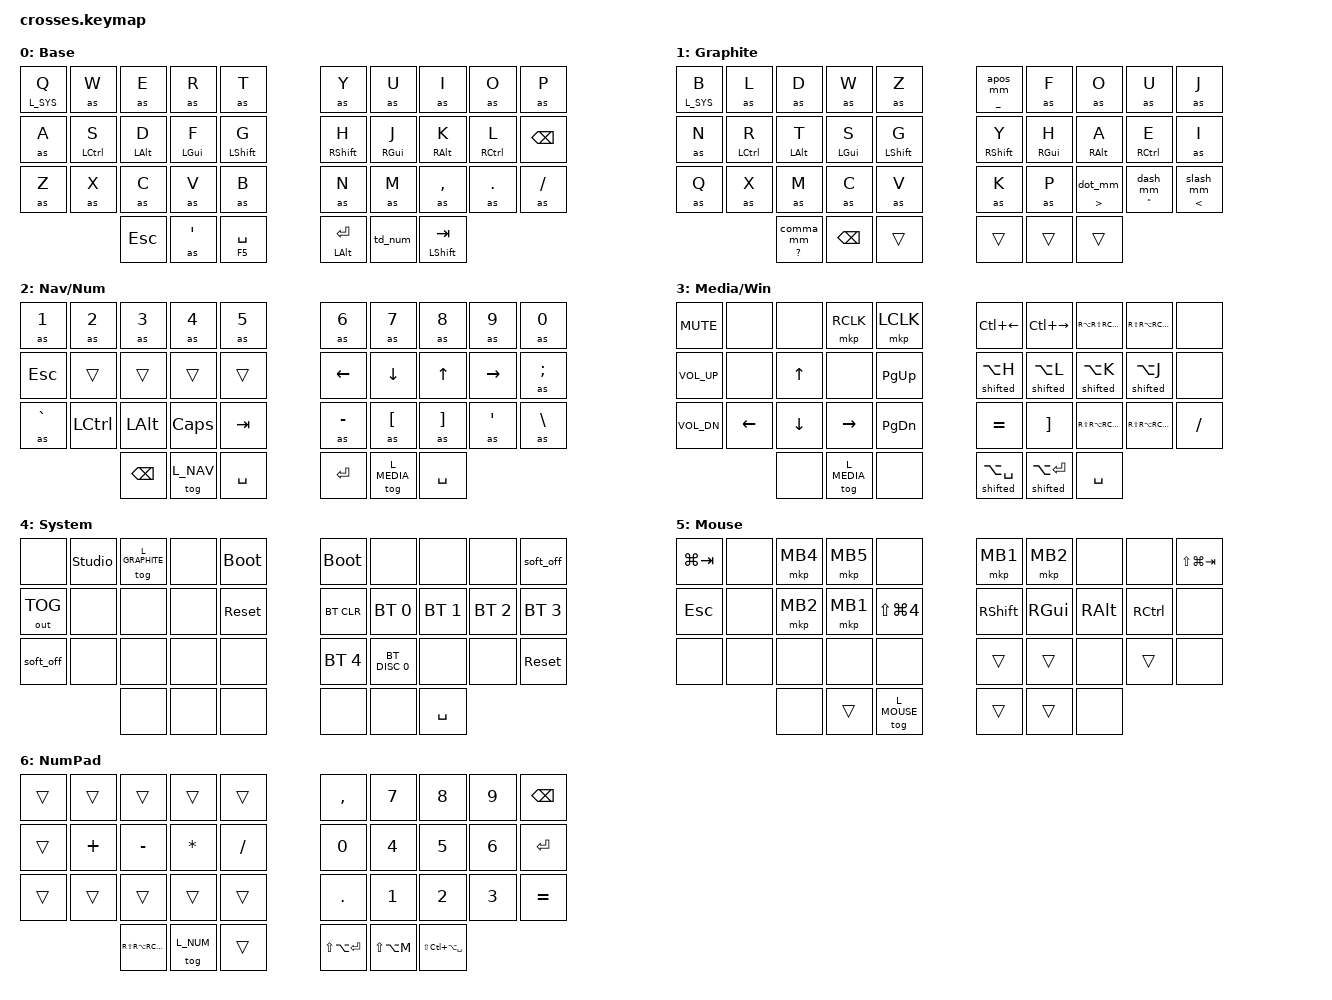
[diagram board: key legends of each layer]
#include <behaviors.dtsi>
#include <dt-bindings/zmk/bt.h>
#include <dt-bindings/zmk/keys.h>
#include <dt-bindings/zmk/outputs.h>
#include <dt-bindings/zmk/pointing.h>
#include <behaviors/num_word.dtsi>   // urob/zmk-auto-layer module
#include <scroll-snap.dtsi>          // kot149/zmk-scroll-snap module

/* Key position groups for timeless homerow mods (36-key numbering)
 *  0  1  2  3  4    5  6  7  8  9
 * 10 11 12 13 14   15 16 17 18 19
 * 20 21 22 23 24   25 26 27 28 29
 *       30 31 32   33 34 35
 */
#define KEYS_L 0 1 2 3 4 10 11 12 13 14 20 21 22 23 24
#define KEYS_R 5 6 7 8 9 15 16 17 18 19 25 26 27 28 29
#define THUMBS 30 31 32 33 34 35

/* Layer names. Graphite sits at index 1, directly above Base, so every
 * function layer still overrides it (highest active layer wins).
 */
#define L_BASE     0
#define L_GRAPHITE 1
#define L_NAV      2
#define L_MEDIA    3
#define L_SYS      4
#define L_MOUSE    5
#define L_NUM      6

/ {
    chosen { zmk,physical-layout = &gggw_crosses_36_layout; };

    behaviors {
        hml: home_row_mod_left {
            compatible = "zmk,behavior-hold-tap";
            label = "HOME_ROW_MOD_LEFT";
            #binding-cells = <2>;
            flavor = "balanced";
            tapping-term-ms = <280>;
            quick-tap-ms = <175>;
            require-prior-idle-ms = <150>;
            bindings = <&kp>, <&kp>;
            hold-trigger-key-positions = <KEYS_R THUMBS>;
            hold-trigger-on-release;
        };

        hmr: home_row_mod_right {
            compatible = "zmk,behavior-hold-tap";
            label = "HOME_ROW_MOD_RIGHT";
            #binding-cells = <2>;
            flavor = "balanced";
            tapping-term-ms = <280>;
            quick-tap-ms = <175>;
            require-prior-idle-ms = <150>;
            bindings = <&kp>, <&kp>;
            hold-trigger-key-positions = <KEYS_L THUMBS>;
            hold-trigger-on-release;
        };

        td_num: tap_dance_num {
            compatible = "zmk,behavior-tap-dance";
            label = "TAP_DANCE_NUM";
            #binding-cells = <0>;
            tapping-term-ms = <200>;
            bindings = <&num_word L_NUM>, <&tog L_NUM>, <&tog L_NAV>;   // tap: smart numpad, double tap: toggle numpad lock, triple tap: toggle nav lock
        };

        /* Graphite custom shift pairs: tap = mod-morph (base char, shifted pair
         * when shift held), hold = autoshift to the pair char. Cleared of
         * suspicion by the 2026-08-22 bisect; the real failures were the
         * zip_temp_layer driver plus stale ZMK Studio layer-order state.
         */
        gr_apos: gr_apos { compatible = "zmk,behavior-hold-tap"; #binding-cells = <2>; tapping-term-ms = <350>; quick-tap-ms = <0>; flavor = "tap-preferred"; bindings = <&kp>, <&apos_mm>; };
        gr_dot: gr_dot { compatible = "zmk,behavior-hold-tap"; #binding-cells = <2>; tapping-term-ms = <350>; quick-tap-ms = <0>; flavor = "tap-preferred"; bindings = <&kp>, <&dot_mm>; };
        gr_dash: gr_dash { compatible = "zmk,behavior-hold-tap"; #binding-cells = <2>; tapping-term-ms = <350>; quick-tap-ms = <0>; flavor = "tap-preferred"; bindings = <&kp>, <&dash_mm>; };
        gr_slash: gr_slash { compatible = "zmk,behavior-hold-tap"; #binding-cells = <2>; tapping-term-ms = <350>; quick-tap-ms = <0>; flavor = "tap-preferred"; bindings = <&kp>, <&slash_mm>; };
        gr_comma: gr_comma { compatible = "zmk,behavior-hold-tap"; #binding-cells = <2>; tapping-term-ms = <350>; quick-tap-ms = <0>; flavor = "tap-preferred"; bindings = <&kp>, <&comma_mm>; };

        apos_mm: apos_mm { compatible = "zmk,behavior-mod-morph"; #binding-cells = <0>; bindings = <&kp SQT>, <&kp UNDER>; mods = <(MOD_LSFT|MOD_RSFT)>; };
        dot_mm: dot_mm { compatible = "zmk,behavior-mod-morph"; #binding-cells = <0>; bindings = <&kp DOT>, <&kp GT>; mods = <(MOD_LSFT|MOD_RSFT)>; };
        dash_mm: dash_mm { compatible = "zmk,behavior-mod-morph"; #binding-cells = <0>; bindings = <&kp MINUS>, <&kp DQT>; mods = <(MOD_LSFT|MOD_RSFT)>; };
        slash_mm: slash_mm { compatible = "zmk,behavior-mod-morph"; #binding-cells = <0>; bindings = <&kp FSLH>, <&kp LT>; mods = <(MOD_LSFT|MOD_RSFT)>; };
        comma_mm: comma_mm { compatible = "zmk,behavior-mod-morph"; #binding-cells = <0>; bindings = <&kp COMMA>, <&kp QMARK>; mods = <(MOD_LSFT|MOD_RSFT)>; };

        as_ht: autoshift_hold_tap {
            compatible = "zmk,behavior-hold-tap";
            label = "AUTOSHIFT_HOLD_TAP";
            #binding-cells = <2>;
            tapping-term-ms = <350>;
            bindings = <&shifted>, <&kp>;

            quick_tap_ms = <0>;
            flavor = "tap-preferred";
        };
    };

    macros {
        shifted: macro_shifted_kp {
            #binding-cells = <1>;
            label = "MACRO_SHIFTED_KP";
            compatible = "zmk,behavior-macro-one-param";
            bindings =
                <&macro_press>,
                <&kp LSHFT &macro_param_1to1>,
                <&macro_tap>,
                <&kp MACRO_PLACEHOLDER>,
                <&macro_release>,
                <&kp LSHFT>;
        };

        as: autoshift {
            compatible = "zmk,behavior-macro-one-param";
            #binding-cells = <1>;
            label = "AUTOSHIFT_KP";
            bindings =
                <&macro_press>,
                <&macro_param_1to1 &macro_param_1to2 &as_ht MACRO_PLACEHOLDER MACRO_PLACEHOLDER>,
                <&macro_pause_for_release>,
                <&macro_release>,
                <&macro_param_1to1 &macro_param_1to2 &as_ht MACRO_PLACEHOLDER MACRO_PLACEHOLDER>;
        };
    };
};

/* Travel power-off: hold for 2 s to shut both halves down completely
 * (central forwards to the peripheral first). Wake by tapping the reset
 * button on each half; keys cannot wake it, so it is safe in a bag.
 */
&soft_off {
    hold-time-ms = <2000>;
};

&lt {
    tapping-term-ms = <200>;
    flavor = "balanced";
    quick-tap-ms = <150>;
};

/ {
    combos {
        compatible = "zmk,combos";

        layer1-combo-left {
            bindings = <&mo L_NAV>;
            key-positions = <24 32>;
        };

        layer2-combo-left {
            bindings = <&mo L_MEDIA>;
            key-positions = <23 32>;
        };

        layer1-combo-right {
            bindings = <&mo L_NAV>;
            key-positions = <25 33>;
        };

        layer2-combo-right {
            bindings = <&mo L_MEDIA>;
            key-positions = <26 33>;
        };

        shiftenter {
            bindings = <&shifted ENTER>;
            key-positions = <32 33>;
        };

        alt-tab {
            bindings = <&kp LA(TAB)>;
            key-positions = <31 10>;
        };
    };

    macros {
    };

    behaviors {
    };

    keymap {
        compatible = "zmk,keymap";

        layer_0 {
            display-name = "Base";
            bindings = <
&lt L_SYS Q  &as W               &as E           &as R           &as T             &as Y               &as U            &as I               &as O                &as P
&as A    &hml LEFT_CONTROL S  &hml LEFT_ALT D  &hml LEFT_GUI F  &hml LEFT_SHIFT G  &hmr RIGHT_SHIFT H   &hmr RIGHT_GUI J  &hmr RIGHT_ALT K     &hmr RIGHT_CONTROL L  &kp BACKSPACE
&as Z    &as X               &as C           &as V           &as B             &as N               &as M            &as COMMA           &as DOT              &as FSLH
                             &kp ESCAPE      &as APOS        &mt F5 SPACE      &mt LEFT_ALT ENTER  &td_num          &mt LEFT_SHIFT TAB
            >;
        };


        graphite {
            // Toggled alpha layer (System layer key). Sits directly above
            // Base so all function layers still win. HRM mods carried over
            // positionally; custom Graphite shift pairs via gr_* behaviors.
            // Comma takes the Esc thumb (Esc lives on Nav), Backspace takes
            // the freed quote thumb; i sits on the old Backspace position.
            display-name = "Graphite";
            bindings = <
&lt L_SYS B  &as L                &as D            &as W            &as Z              &gr_apos UNDER 0            &as F             &as O             &as U                 &as J
&as N        &hml LEFT_CONTROL R  &hml LEFT_ALT T  &hml LEFT_GUI S  &hml LEFT_SHIFT G  &hmr RIGHT_SHIFT Y   &hmr RIGHT_GUI H  &hmr RIGHT_ALT A  &hmr RIGHT_CONTROL E  &as I
&as Q        &as X                &as M            &as C            &as V              &as K                &as P             &gr_dot GT 0           &gr_dash DQT 0             &gr_slash LT 0      
                                  &gr_comma QMARK 0          &kp BSPC       &trans             &trans               &trans            &trans
            >;
        };

        layer_1 {
            display-name = "Nav/Num";
            bindings = <
&as NUMBER_1  &as NUMBER_2  &as NUMBER_3   &as NUMBER_4  &as NUMBER_5  &as NUMBER_6    &as N7            &as N8             &as NUMBER_9     &as NUMBER_0
&kp ESCAPE    &trans        &trans         &trans        &trans        &kp LEFT_ARROW  &kp DOWN_ARROW    &kp UP_ARROW       &kp RIGHT_ARROW  &as SEMICOLON
&as GRAVE     &kp LCTRL     &kp LEFT_ALT   &kp CAPS      &kp TAB       &as MINUS       &as LEFT_BRACKET  &as RIGHT_BRACKET  &as SQT          &as BACKSLASH
                            &kp BACKSPACE  &tog L_NAV    &kp SPACE     &kp ENTER       &tog L_MEDIA      &kp SPACE
            >;
        };

        layer_2 {
            display-name = "Media/Win";
            bindings = <
&kp K_MUTE    &none           &none           &mkp RCLK        &mkp LCLK      &kp LC(LEFT)        &kp LC(RIGHT)       &kp RA(RS(RC(LEFT)))  &kp RS(RA(RC(RIGHT)))  &none
&kp C_VOL_UP  &none           &kp UP_ARROW    &none            &kp PAGE_UP    &shifted LA(H)      &shifted LA(L)      &shifted LA(K)        &shifted LA(J)         &none
&kp C_VOL_DN  &kp LEFT_ARROW  &kp DOWN_ARROW  &kp RIGHT_ARROW  &kp PAGE_DOWN  &kp EQUAL           &kp RBKT            &kp RS(RA(RC(H)))     &kp RS(RA(RC(L)))      &kp SLASH
                              &none           &tog L_MEDIA     &none          &shifted LA(SPACE)  &shifted LA(ENTER)  &kp SPACE
            >;
        };

        layer_3 {
            // Hold Q to reach this layer. soft_off needs a 2 s hold.
            // bootloader/sys_reset act on the half whose key is pressed.
            display-name = "System";
            bindings = <
&none          &studio_unlock  &tog L_GRAPHITE  &none  &bootloader  &bootloader  &none          &none         &none         &soft_off
&out OUT_TOG   &none           &none  &none  &sys_reset   &bt BT_CLR   &bt BT_SEL 0   &bt BT_SEL 1  &bt BT_SEL 2  &bt BT_SEL 3
&soft_off      &none           &none  &none  &none        &bt BT_SEL 4 &bt BT_DISC 0  &none         &none         &sys_reset
                               &none  &none  &none        &none        &none          &kp SPACE
            >;
        };

        Mouse {
            display-name = "Mouse";
            bindings = <
&kp LG(TAB)  &none  &mkp MB4  &mkp MB5  &none                 &mkp MB1         &mkp MB2       &none          &none              &kp LS(LG(TAB))
&kp ESC      &none  &mkp MB2  &mkp MB1  &kp LS(LG(NUMBER_4))  &kp RIGHT_SHIFT  &kp RIGHT_GUI  &kp RIGHT_ALT  &kp RIGHT_CONTROL  &none
&none        &none  &none     &none     &none                 &trans           &trans         &none          &trans             &none
                    &none     &trans    &tog L_MOUSE          &trans           &trans         &none
            >;
        };

        numpad {
            // Right half is a numpad (456 on home row, like a physical pad).
            // Left half stays transparent except an operator cluster on the home row,
            // so left-hand letters fall through to base and end num_word naturally.
            // Index 5: num_word and td_num point here.
            // Thumbs (Amethyst): pos 30 toggle global tiling (mod2+T),
            // pos 33 swap focused window with main (mod1+Enter),
            // pos 34 focus main window (mod1+M, bind in Amethyst prefs),
            // pos 35 cycle layout (Shift+Ctrl+Opt+Space, custom Amethyst binding;
            // mod1+Space is taken by voice input). Plain Space/Enter still exit numword.
            display-name = "NumPad";
            bindings = <
&trans  &trans    &trans     &trans     &trans     &kp COMMA  &kp N7  &kp N8  &kp N9  &kp BACKSPACE
&trans  &kp PLUS  &kp MINUS  &kp ASTRK  &kp FSLH   &kp N0     &kp N4  &kp N5  &kp N6  &kp ENTER
&trans  &trans    &trans     &trans     &trans     &kp DOT    &kp N1  &kp N2  &kp N3  &kp EQUAL
                  &kp RS(RA(RC(T)))  &tog L_NUM  &trans     &kp LS(LA(ENTER))  &kp LS(LA(M))  &kp LS(LC(LA(SPACE)))
            >;
        };
    };
};

/* Trackball window management (Amethyst) on the NumPad layer.
 * Flick a ball to fire a discrete Amethyst command
 * (zettaface/zmk-input-processor-keybind, mode 1 = 4-way).
 * Binding order is fixed by the driver: right, left, down, up.
 * mod1 = Opt+Shift, mod2 = Ctrl+Opt+Shift (Amethyst defaults).
 */
/ {
    input_processors {
        // Left ball: one-shot placement flicks (slow repeat)
        zip_win_throw: zip_win_throw {
            compatible = "zmk,input-processor-keybind";
            #input-processor-cells = <0>;
            mode = <1>;
            tick = <60>;
            wait-ms = <250>;
            tap-ms = <30>;
            bindings = <&kp RS(RA(RC(RIGHT)))>,   // flick right: throw window to space right
                       <&kp RS(RA(RC(LEFT)))>,    // flick left:  throw window to space left
                       <&kp RS(RA(RC(J)))>,       // flick down:  swap window counterclockwise
                       <&kp RS(RA(RC(K)))>;       // flick up:    swap window clockwise
        };

        // Right ball: continuous layout control (fast repeat).
        // Rolling right/left drags the main pane divider; up/down cycles focus.
        zip_win_resize: zip_win_resize {
            compatible = "zmk,input-processor-keybind";
            #input-processor-cells = <0>;
            mode = <1>;
            tick = <120>;
            wait-ms = <80>;
            tap-ms = <20>;
            bindings = <&kp LS(LA(L))>,           // roll right: expand main pane
                       <&kp LS(LA(H))>,           // roll left:  shrink main pane
                       <&kp LS(LA(J))>,           // roll down:  focus next window
                       <&kp LS(LA(K))>;           // roll up:    focus previous window
        };
    };
};

/* Left trackball, per-layer behavior.
 * The peripheral now sends raw x/y (only BLE rate limiting on-half);
 * interpretation happens here on the central side so it can vary by layer:
 *   - Mouse layer (4): precision pointer at half speed for fine placement
 *   - everywhere else: vertical + horizontal scroll, snapped to the
 *     dominant axis by zmk-scroll-snap so diagonal wobble does not leak
 *     into the other axis
 */
&trackball_peripheral_split {
    input-processors = <&zip_ble_report_rate_limit>;
};

&trackball_peripheral_listener {
    status = "okay";

    /* Base chain = the default for any layer without an override below:
     * vertical + horizontal scroll, snapped to the dominant axis.
     * NOTE: never list layer 0 in a child override; layer 0 is always
     * active in ZMK, so such a child matches on EVERY layer and shadows
     * the children declared after it.
     */
    input-processors = <&zip_xy_to_scroll_mapper>, <&zip_scroll_snap>, <&zip_scroll_scaler 1 2>;

    /* Declared first on purpose: the Mouse layer can still be active
     * (800 ms temp-layer tail) when the NumPad layer is entered, and the
     * first matching child wins. Window management must beat precision.
     */
    win_throw {
        layers = <L_NUM>;
        input-processors = <&zip_win_throw>, <&zip_xy_scaler 0 1>;
    };

    precision_pointer {
        layers = <L_MOUSE>;
        // scaler slows the pointer; temp_layer refreshes the Mouse layer
        // timeout so left-ball motion keeps the layer alive too
        input-processors = <&zip_xy_scaler 3 4>, <&zip_temp_layer L_MOUSE 800>;
    };
};

// NumPad layer: right ball resizes the main pane and cycles focus.
// The zero scaler stops residual motion from moving the pointer.
&trackball_central_listener {
    /* This property is also set in the gggw-zmk-keebs module's own
     * crosses_right.overlay (hardcoded to layer 4), which wins the merge
     * over the config-dir overlays. The keymap is merged LAST, so this
     * line is the one that actually takes effect. Layer 4 became the
     * System layer after the Graphite renumbering; ball motion silently
     * raising System (bootloader/soft-off/reset keys) caused the entire
     * 2026-08-22 failure cascade. Keep this override here.
     */
    input-processors = <&zip_temp_layer L_MOUSE 800>;

    win_resize {
        layers = <L_NUM>;
        input-processors = <&zip_win_resize>, <&zip_xy_scaler 0 1>;
    };
};

/* Automouse via zip_temp_layer, minimal configuration: the layer times out
 * 800 ms after the last ball motion and is NOT dropped by keypresses, so
 * clicks and mod-clicks on the Mouse layer just work. excluded-positions is
 * deliberately NOT set: its position handler in the v0.3 driver interacted
 * badly with clicks (wedged the central until reset, 2026-08-22 debugging).
 * require-prior-idle keeps ball jitter from raising the layer mid-typing.
 */
&zip_temp_layer {
    require-prior-idle-ms = <150>;
};

/* Keep num_word alive through window management. Continue-list entries
 * match keycode PLUS modifiers (subset match), so the exact Amethyst
 * chords are whitelisted while the plain keys keep their exit behavior:
 * plain Space, plain Enter and letters all still end numword.
 * (List replaces the module default, so the defaults are repeated.)
 */
&num_word {
    continue-list = <
        BACKSPACE DELETE DOT COMMA PLUS MINUS STAR FSLH EQUAL
        RS(RA(RC(LEFT))) RS(RA(RC(RIGHT))) RS(RA(RC(J))) RS(RA(RC(K)))
        LS(LA(H)) LS(LA(J)) LS(LA(K)) LS(LA(L))
        LS(LA(ENTER)) LS(LA(M)) LS(LC(LA(SPACE))) RS(RA(RC(T)))
    >;
};
